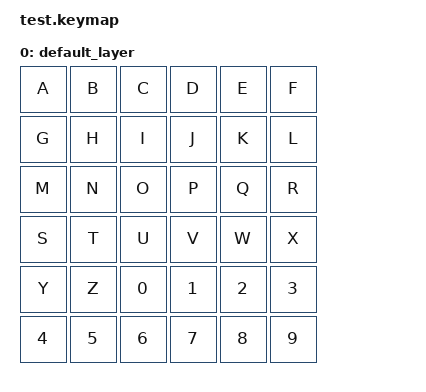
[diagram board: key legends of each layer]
/*
 * Copyright (c) 2020 The ZMK Contributors
 *
 * SPDX-License-Identifier: MIT
 */

#include <behaviors.dtsi>
#include <dt-bindings/zmk/keys.h>
#include <dt-bindings/zmk/bt.h>

/ {
        keymap {
                compatible = "zmk,keymap";

                default_layer {
                        bindings = <
&kp A  &kp B  &kp C  &kp D  &kp E  &kp F
&kp G  &kp H  &kp I  &kp J  &kp K  &kp L
&kp M  &kp N  &kp O  &kp P  &kp Q  &kp R
&kp S  &kp T  &kp U  &kp V  &kp W  &kp X
&kp Y  &kp Z  &kp N0 &kp N1 &kp N2 &kp N3
&kp N4 &kp N5 &kp N6 &kp N7 &kp N8 &kp N9
                        >;
                };
        };
};
